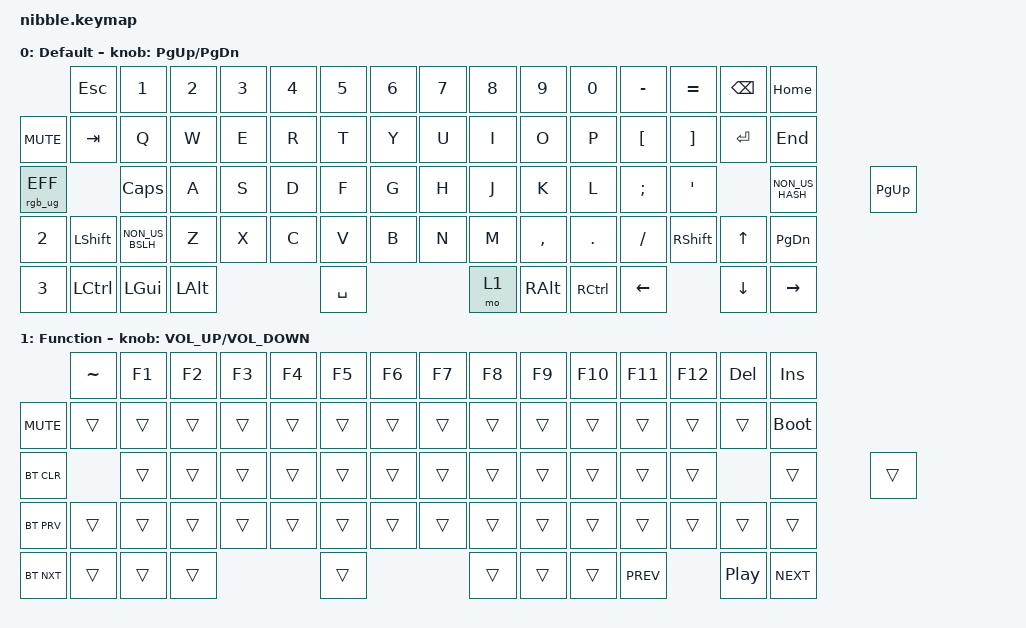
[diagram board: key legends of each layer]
/*
 * Copyright (c) 2020 The ZMK Contributors
 *
 * SPDX-License-Identifier: MIT
 */

#include <behaviors.dtsi>
#include <dt-bindings/zmk/keys.h>
#include <dt-bindings/zmk/bt.h>
#include <dt-bindings/zmk/rgb.h>

/ {
    sensors: sensors {
        compatible = "zmk,keymap-sensors";
        sensors = <&encoder_1>;
        triggers-per-rotation = <20>;
    };

    keymap {
        compatible = "zmk,keymap";

        default_layer {
            display-name = "Default";

            sensor-bindings = <&inc_dec_kp PG_UP PG_DN>;

            bindings = <
            &kp ESC   &kp N1    &kp N2    &kp N3    &kp N4    &kp N5    &kp N6    &kp N7    &kp N8  &kp N9    &kp N0    &kp MINUS &kp EQUAL &kp BSPC &kp HOME
&kp C_MUTE  &kp TAB   &kp Q     &kp W     &kp E     &kp R     &kp T     &kp Y     &kp U     &kp I   &kp O     &kp P     &kp LBKT  &kp RBKT  &kp RET &kp END
&rgb_ug RGB_EFF      &kp CLCK  &kp A     &kp S     &kp D     &kp F     &kp G     &kp H     &kp J     &kp K   &kp L     &kp SEMI  &kp SQT             &kp NON_US_HASH  &kp PG_UP
&kp N2      &kp LSHFT &kp NON_US_BSLH    &kp Z     &kp X     &kp C     &kp V     &kp B     &kp N     &kp M   &kp COMMA &kp DOT   &kp FSLH  &kp RSHFT &kp UP   &kp PG_DN
&kp N3      &kp LCTRL &kp LGUI  &kp LALT                      &kp SPACE                     &mo 1   &kp RALT  &kp RCTRL &kp LEFT            &kp DOWN &kp RIGHT
            >;
        };
        function_layer {
            display-name = "Function";

            sensor-bindings = <&inc_dec_kp C_VOLUME_UP C_VOLUME_DOWN>;

            bindings = <
            &kp TILDE &kp F1    &kp F2    &kp F3    &kp F4    &kp F5    &kp F6    &kp F7    &kp F8  &kp F9    &kp F10   &kp F11   &kp F12   &kp DEL   &kp INS
&kp C_MUTE  &trans    &trans    &trans    &trans    &trans    &trans    &trans    &trans    &trans  &trans    &trans    &trans    &trans    &trans   &bootloader
&bt BT_CLR  &trans    &trans    &trans    &trans    &trans    &trans    &trans    &trans    &trans  &trans    &trans    &trans              &trans   &trans
&bt BT_PRV  &trans    &trans    &trans    &trans    &trans    &trans    &trans    &trans    &trans  &trans    &trans    &trans    &trans    &trans   &trans
&bt BT_NXT  &trans    &trans    &trans                        &trans                        &trans  &trans    &trans    &kp C_PREV          &kp C_PP &kp C_NEXT
            >;
        };
    };
};
